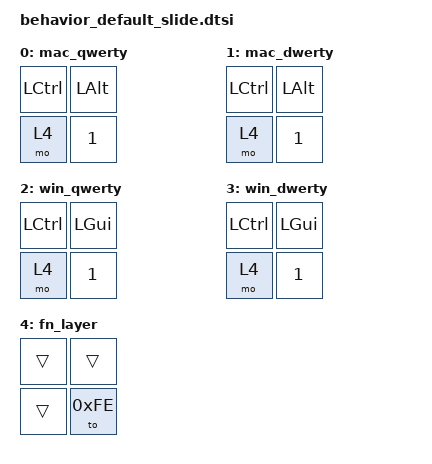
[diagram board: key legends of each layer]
/* Four-position model for a live Mac/Win default-layer change. */
/ {
    keymap {
        compatible = "zmk,keymap";

        mac_qwerty {
            bindings = <
                &kp LCTRL  &kp LALT
                &mo 4      &kp N1
            >;
        };

        mac_dwerty {
            bindings = <
                &kp LCTRL  &kp LALT
                &mo 4      &kp N1
            >;
        };

        win_qwerty {
            bindings = <
                &kp LCTRL  &kp LGUI
                &mo 4      &kp N1
            >;
        };

        win_dwerty {
            bindings = <
                &kp LCTRL  &kp LGUI
                &mo 4      &kp N1
            >;
        };

        fn_layer {
            bindings = <
                &trans     &trans
                &trans     &to 0xFE
            >;
        };
    };
};
